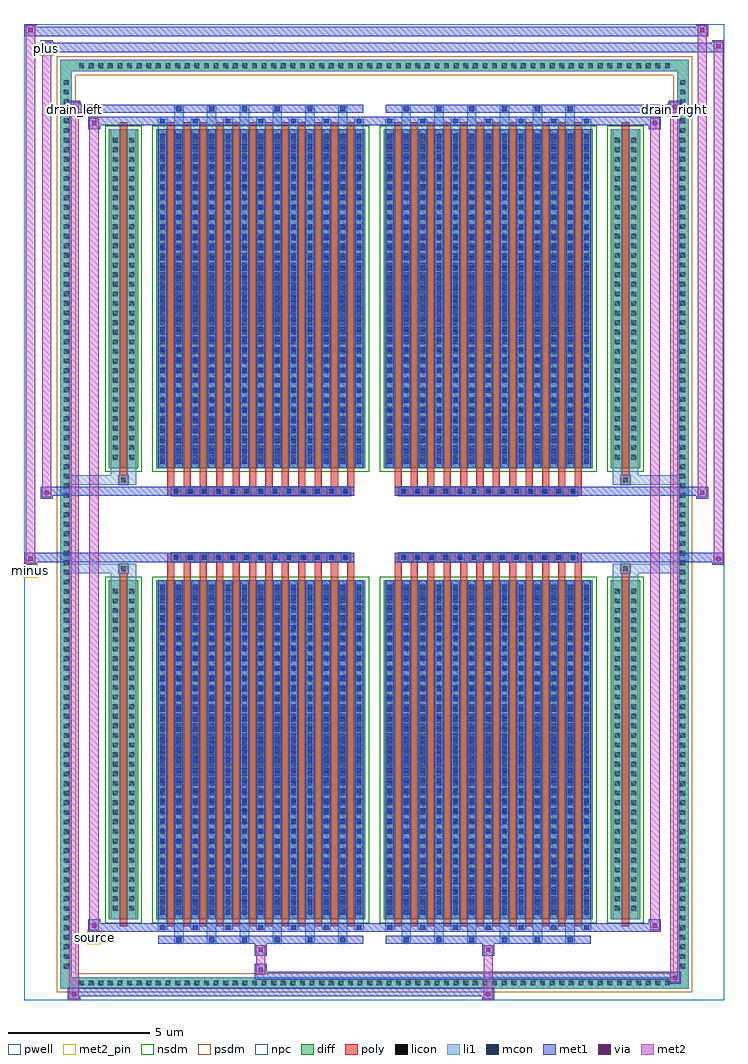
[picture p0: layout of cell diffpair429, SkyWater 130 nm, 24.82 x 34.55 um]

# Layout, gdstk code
import gdstk
lib = gdstk.Library(unit=1e-6, precision=5e-09)
def R(c, l, rs):  # rectangles x0, y0, x1, y1
    for r in rs: c.add(gdstk.rectangle(r[:2], r[2:], *l))
def A(c, l, x, y, w, h, nx, ny, dx, dy):  # array of equal rectangles
    R(c, l, [(x+i*dx, y+j*dy, x+i*dx+w, y+j*dy+h) for i in range(nx) for j in range(ny)])
def P(c, l, *ps):  # polygons
    for p in ps: c.add(gdstk.Polygon(p, *l))
pwell = (64, 44)
diff = (65, 20)
poly = (66, 20)
licon = (66, 44)
li1 = (67, 20)
mcon = (67, 44)
met1 = (68, 20)
via = (68, 44)
met2_pin = (69, 16)
met2 = (69, 20)
nsdm = (93, 44)
psdm = (94, 20)
npc = (95, 20)

diffpair429 = lib.new_cell('diffpair429')
R(diffpair429, pwell, [(-12.39,-16.84,12.39,17.71), (-9.71,-15.03,-0.01,-0.805), (0.01,-15.03,9.71,-0.805), (-9.71,0.805,-0.01,15.03), (0.01,0.805,9.71,15.03)])
A(diffpair429, diff, -10.575, -16.44, 0.41, 0.41, 62, 2, 0.34, 32.47)
A(diffpair429, diff, -11.12, -15.845, 0.41, 0.41, 1, 93, 0, 0.34)
A(diffpair429, diff, 10.71, -15.845, 0.41, 0.41, 1, 93, 0, 0.34)
R(diffpair429, diff, [(-10.575,-16.44,10.575,-16.03), (-11.12,-15.845,-10.71,15.845), (10.71,-15.845,11.12,15.845), (-9.4,-13.985,-8.37,-1.985), (-7.73,-13.985,-0.32,-1.985), (0.32,-13.985,7.73,-1.985), (8.37,-13.985,9.4,-1.985), (-9.4,1.985,-8.37,13.985), (-7.73,1.985,-0.32,13.985), (0.32,1.985,7.73,13.985), (8.37,1.985,9.4,13.985), (-10.575,16.03,10.575,16.44)])
P(diffpair429, diff, [(11.12,16.44),(-11.12,16.44),(-11.12,-16.03),(-10.71,-16.03),(-10.71,16.03),(10.71,16.03),(10.71,-16.03),(-10.71,-16.03),(-11.12,-16.03),(-11.12,-16.44),(11.12,-16.44)])
A(diffpair429, poly, -7.34, -14.235, 0.25, 12.5, 12, 2, 0.58, 15.97)
A(diffpair429, poly, 0.71, -14.235, 0.25, 12.5, 12, 2, 0.58, 15.97)
A(diffpair429, poly, -7.34, -1.735, 0.25, 0.4, 12, 2, 0.58, 3.07)
A(diffpair429, poly, 0.71, -1.735, 0.25, 0.4, 12, 2, 0.58, 3.07)
A(diffpair429, poly, -7.19, -1.335, 0.33, 0.33, 13, 2, 0.5, 2.34)
A(diffpair429, poly, 0.86, -1.335, 0.33, 0.33, 13, 2, 0.5, 2.34)
R(diffpair429, poly, [(-9.01,-14.235,-8.76,-1.735), (8.76,-14.235,9.01,-1.735), (-9.05,-1.735,-8.72,-1.405), (-9.05,-1.735,-8.72,-1.405), (8.72,-1.735,9.05,-1.405), (8.72,-1.735,9.05,-1.405), (-7.34,-1.335,-0.71,-1.005), (0.71,-1.335,7.34,-1.005), (-7.34,1.005,-0.71,1.335), (0.71,1.005,7.34,1.335), (-9.05,1.405,-8.72,1.735), (-9.05,1.405,-8.72,1.735), (8.72,1.405,9.05,1.735), (8.72,1.405,9.05,1.735), (-9.01,1.735,-8.76,14.235), (8.76,1.735,9.01,14.235)])
A(diffpair429, licon, -10.455, -16.32, 0.17, 0.17, 62, 2, 0.34, 32.47)
A(diffpair429, licon, -11, -15.725, 0.17, 0.17, 1, 93, 0, 0.34)
A(diffpair429, licon, 10.83, -15.725, 0.17, 0.17, 1, 93, 0, 0.34)
A(diffpair429, licon, -9.26, -13.68, 0.17, 0.17, 1, 34, 0, 0.34)
A(diffpair429, licon, -8.68, -13.68, 0.17, 0.17, 1, 34, 0, 0.34)
A(diffpair429, licon, -7.59, -13.68, 0.17, 0.17, 13, 34, 0.58, 0.34)
A(diffpair429, licon, 0.46, -13.68, 0.17, 0.17, 13, 34, 0.58, 0.34)
A(diffpair429, licon, 8.51, -13.68, 0.17, 0.17, 1, 34, 0, 0.34)
A(diffpair429, licon, 9.09, -13.68, 0.17, 0.17, 1, 34, 0, 0.34)
A(diffpair429, licon, -7.11, -1.255, 0.17, 0.17, 13, 2, 0.5, 2.34)
A(diffpair429, licon, 0.94, -1.255, 0.17, 0.17, 13, 2, 0.5, 2.34)
A(diffpair429, licon, -9.26, 2.29, 0.17, 0.17, 1, 34, 0, 0.34)
A(diffpair429, licon, -8.68, 2.29, 0.17, 0.17, 1, 34, 0, 0.34)
A(diffpair429, licon, -7.59, 2.29, 0.17, 0.17, 13, 34, 0.58, 0.34)
A(diffpair429, licon, 0.46, 2.29, 0.17, 0.17, 13, 34, 0.58, 0.34)
A(diffpair429, licon, 8.51, 2.29, 0.17, 0.17, 1, 34, 0, 0.34)
A(diffpair429, licon, 9.09, 2.29, 0.17, 0.17, 1, 34, 0, 0.34)
R(diffpair429, licon, [(-8.97,-1.655,-8.8,-1.485), (8.8,-1.655,8.97,-1.485), (-8.97,1.485,-8.8,1.655), (8.8,1.485,8.97,1.655)])
A(diffpair429, li1, -10.535, -16.4, 0.33, 0.33, 62, 2, 0.34, 32.47)
A(diffpair429, li1, -11.08, -15.805, 0.33, 0.33, 1, 93, 0, 0.34)
A(diffpair429, li1, 10.75, -15.805, 0.33, 0.33, 1, 93, 0, 0.34)
A(diffpair429, li1, -7.09, -14.79, 0.33, 0.805, 6, 2, 1.16, 28.775)
A(diffpair429, li1, -7.01, -14.79, 0.17, 0.17, 6, 2, 1.16, 29.41)
A(diffpair429, li1, 0.96, -14.79, 0.33, 0.805, 6, 2, 1.16, 28.775)
A(diffpair429, li1, 1.04, -14.79, 0.17, 0.17, 6, 2, 1.16, 29.41)
A(diffpair429, li1, -7.67, -14.36, 0.33, 0.375, 7, 2, 1.16, 28.345)
A(diffpair429, li1, -7.59, -14.36, 0.17, 0.17, 7, 2, 1.16, 28.55)
A(diffpair429, li1, 0.38, -14.36, 0.33, 0.375, 7, 2, 1.16, 28.345)
A(diffpair429, li1, 0.46, -14.36, 0.17, 0.17, 7, 2, 1.16, 28.55)
A(diffpair429, li1, -7.67, -13.985, 0.33, 12, 13, 2, 0.58, 15.97)
A(diffpair429, li1, 0.38, -13.985, 0.33, 12, 13, 2, 0.58, 15.97)
A(diffpair429, li1, -7.59, -13.83, 0.17, 0.17, 13, 33, 0.58, 0.36)
A(diffpair429, li1, -7.59, -13.83, 0.17, 11.69, 13, 2, 0.58, 15.97)
A(diffpair429, li1, 0.46, -13.83, 0.17, 0.17, 13, 33, 0.58, 0.36)
A(diffpair429, li1, 0.46, -13.83, 0.17, 11.69, 13, 2, 0.58, 15.97)
A(diffpair429, li1, -9.34, -13.76, 0.33, 0.33, 1, 34, 0, 0.34)
A(diffpair429, li1, -8.76, -13.76, 0.33, 0.33, 1, 34, 0, 0.34)
A(diffpair429, li1, -7.67, -13.76, 0.33, 0.33, 13, 34, 0.58, 0.34)
A(diffpair429, li1, 0.38, -13.76, 0.33, 0.33, 13, 34, 0.58, 0.34)
A(diffpair429, li1, 8.43, -13.76, 0.33, 0.33, 1, 34, 0, 0.34)
A(diffpair429, li1, 9.01, -13.76, 0.33, 0.33, 1, 34, 0, 0.34)
A(diffpair429, li1, -7.19, -1.335, 0.33, 0.33, 13, 2, 0.5, 2.34)
A(diffpair429, li1, 0.86, -1.335, 0.33, 0.33, 13, 2, 0.5, 2.34)
A(diffpair429, li1, -7.59, 2.14, 0.17, 0.17, 13, 33, 0.58, 0.36)
A(diffpair429, li1, 0.46, 2.14, 0.17, 0.17, 13, 33, 0.58, 0.36)
A(diffpair429, li1, -9.34, 2.21, 0.33, 0.33, 1, 34, 0, 0.34)
A(diffpair429, li1, -8.76, 2.21, 0.33, 0.33, 1, 34, 0, 0.34)
A(diffpair429, li1, -7.67, 2.21, 0.33, 0.33, 13, 34, 0.58, 0.34)
A(diffpair429, li1, 0.38, 2.21, 0.33, 0.33, 13, 34, 0.58, 0.34)
A(diffpair429, li1, 8.43, 2.21, 0.33, 0.33, 1, 34, 0, 0.34)
A(diffpair429, li1, 9.01, 2.21, 0.33, 0.33, 1, 34, 0, 0.34)
R(diffpair429, li1, [(-11.12,-16.44,-10.71,-16.03), (-11.12,-16.44,-10.71,-16.03), (-10.71,-16.44,10.71,-16.03), (10.71,-16.44,11.12,-16.03), (10.71,-16.44,11.12,-16.03), (-11.12,-16.03,-10.71,16.03), (10.71,-16.03,11.12,16.03), (-9.34,-13.985,-9.01,-1.985), (-8.76,-13.985,-8.43,-1.985), (8.43,-13.985,8.76,-1.985), (9.01,-13.985,9.34,-1.985), (-9.34,-1.985,-9.01,-1.405), (-8.76,-1.985,-8.43,-1.405), (8.43,-1.985,8.76,-1.405), (9.01,-1.985,9.34,-1.405), (-11.12,-1.735,-9.05,-1.405), (-9.34,-1.735,-9.05,-1.405), (-9.05,-1.735,-8.72,-1.405), (-8.72,-1.735,-8.43,-1.405), (8.43,-1.735,8.72,-1.405), (8.72,-1.735,9.05,-1.405), (8.72,-1.735,11.12,-1.405), (9.05,-1.735,9.34,-1.405), (-11.12,1.405,-9.05,1.735), (-9.34,1.405,-9.05,1.735), (-9.34,1.405,-9.01,1.985), (-9.05,1.405,-8.72,1.735), (-8.76,1.405,-8.43,1.985), (-8.72,1.405,-8.43,1.735), (8.43,1.405,8.72,1.735), (8.43,1.405,8.76,1.985), (8.72,1.405,9.05,1.735), (8.72,1.405,11.12,1.735), (9.01,1.405,9.34,1.985), (9.05,1.405,9.34,1.735), (-9.34,1.985,-9.01,13.985), (-8.76,1.985,-8.43,13.985), (8.43,1.985,8.76,13.985), (9.01,1.985,9.34,13.985), (-11.12,16.03,-10.71,16.44), (-11.12,16.03,-10.71,16.44), (-10.71,16.03,10.71,16.44), (10.71,16.03,11.12,16.44), (10.71,16.03,11.12,16.44)])
A(diffpair429, mcon, -7.01, -14.79, 0.17, 0.17, 6, 2, 1.16, 29.41)
A(diffpair429, mcon, 1.04, -14.79, 0.17, 0.17, 6, 2, 1.16, 29.41)
A(diffpair429, mcon, -7.59, -14.36, 0.17, 0.17, 7, 2, 1.16, 28.55)
A(diffpair429, mcon, 0.46, -14.36, 0.17, 0.17, 7, 2, 1.16, 28.55)
A(diffpair429, mcon, -7.59, -13.83, 0.17, 0.17, 13, 33, 0.58, 0.36)
A(diffpair429, mcon, 0.46, -13.83, 0.17, 0.17, 13, 33, 0.58, 0.36)
A(diffpair429, mcon, -7.11, -1.255, 0.17, 0.17, 13, 2, 0.5, 2.34)
A(diffpair429, mcon, 0.94, -1.255, 0.17, 0.17, 13, 2, 0.5, 2.34)
A(diffpair429, mcon, -7.59, 2.14, 0.17, 0.17, 13, 33, 0.58, 0.36)
A(diffpair429, mcon, 0.46, 2.14, 0.17, 0.17, 13, 33, 0.58, 0.36)
A(diffpair429, met1, -7.07, -14.85, 0.29, 0.29, 6, 2, 1.16, 29.41)
A(diffpair429, met1, 0.98, -14.85, 0.29, 0.29, 6, 2, 1.16, 29.41)
A(diffpair429, met1, -7.65, -14.42, 0.29, 0.29, 7, 2, 1.16, 28.55)
A(diffpair429, met1, 0.4, -14.42, 0.29, 0.29, 7, 2, 1.16, 28.55)
A(diffpair429, met1, -7.65, -13.985, 0.29, 12, 13, 2, 0.58, 15.97)
A(diffpair429, met1, 0.4, -13.985, 0.29, 12, 13, 2, 0.58, 15.97)
A(diffpair429, met1, -7.65, -13.89, 0.29, 0.29, 13, 33, 0.58, 0.36)
A(diffpair429, met1, 0.4, -13.89, 0.29, 0.29, 13, 33, 0.58, 0.36)
A(diffpair429, met1, -7.17, -1.315, 0.29, 0.29, 13, 2, 0.5, 2.34)
A(diffpair429, met1, 0.88, -1.315, 0.29, 0.29, 13, 2, 0.5, 2.34)
A(diffpair429, met1, -7.65, 2.08, 0.29, 0.29, 13, 33, 0.58, 0.36)
A(diffpair429, met1, 0.4, 2.08, 0.29, 0.29, 13, 33, 0.58, 0.36)
R(diffpair429, met1, [(-10.85,-16.84,-10.42,-16.41), (3.81,-16.84,4.24,-16.41), (-10.85,-16.7,4.24,-16.41), (10.42,-16.27,10.85,-15.84), (-4.24,-16.13,10.85,-15.84), (-4.24,-15.99,-3.81,-15.56), (-4.24,-15.28,-3.81,-14.85), (3.81,-15.28,4.24,-14.85), (-7.65,-14.85,-0.4,-14.56), (0.4,-14.85,7.65,-14.56), (-10.14,-14.42,-9.71,-13.99), (-10.14,-14.42,-7.65,-14.13), (-7.65,-14.42,-0.4,-14.13), (-0.4,-14.42,0.4,-14.13), (0.4,-14.42,7.65,-14.13), (7.65,-14.42,10.14,-14.13), (9.71,-14.42,10.14,-13.99), (-12.39,-1.435,-11.96,-1.005), (11.96,-1.435,12.39,-1.005), (-12.39,-1.335,-0.71,-1.005), (-7.34,-1.335,-0.71,-1.005), (0.71,-1.335,7.34,-1.005), (0.71,-1.335,12.39,-1.005), (-11.82,0.905,-11.39,1.335), (11.39,0.905,11.82,1.335), (-11.82,1.005,-7.34,1.335), (-7.34,1.005,-0.71,1.335), (0.71,1.005,7.34,1.335), (7.34,1.005,11.82,1.335), (-10.14,13.99,-9.71,14.42), (9.71,13.99,10.14,14.42), (-10.14,14.13,-7.65,14.42), (-7.65,14.13,-0.4,14.42), (-0.4,14.13,0.4,14.42), (0.4,14.13,7.65,14.42), (7.65,14.13,10.14,14.42), (-10.85,14.56,-10.42,14.99), (-10.85,14.56,-7.65,14.85), (-7.65,14.56,-0.4,14.85), (0.4,14.56,7.65,14.85), (7.65,14.56,10.85,14.85), (10.42,14.56,10.85,14.99), (-11.82,16.71,-11.39,17.14), (-11.82,16.71,-9.71,17.04), (-9.71,16.71,9.71,17.04), (9.71,16.71,12.39,17.04), (11.96,16.71,12.39,17.14), (-12.39,17.28,-11.96,17.71), (-12.39,17.28,-9.71,17.61), (-9.71,17.28,9.71,17.61), (9.71,17.28,11.82,17.61), (11.39,17.28,11.82,17.71)])
R(diffpair429, via, [(-10.71,-16.7,-10.56,-16.55), (3.95,-16.7,4.1,-16.55), (10.56,-16.13,10.71,-15.98), (-4.1,-15.85,-3.95,-15.7), (-4.1,-15.14,-3.95,-14.99), (3.95,-15.14,4.1,-14.99), (-10,-14.28,-9.85,-14.13), (9.85,-14.28,10,-14.13), (-12.25,-1.295,-12.1,-1.145), (12.1,-1.295,12.25,-1.145), (-11.68,1.045,-11.53,1.195), (11.53,1.045,11.68,1.195), (-10,14.13,-9.85,14.28), (9.85,14.13,10,14.28), (-10.71,14.7,-10.56,14.85), (10.56,14.7,10.71,14.85), (-11.68,16.85,-11.53,17), (12.1,16.85,12.25,17), (-12.25,17.42,-12.1,17.57), (11.53,17.42,11.68,17.57)])
R(diffpair429, met2_pin, [(-10.175,-14.87,-9.675,-14.37), (-12.425,-1.885,-11.925,-1.385), (-10.885,14.44,-10.385,14.94), (10.385,14.44,10.885,14.94), (-11.855,16.59,-11.355,17.09)])
R(diffpair429, met2, [(-10.8,-16.79,-10.47,-16.46), (-10.8,-16.79,-10.47,14.94), (3.86,-16.79,4.19,-16.46), (3.86,-16.46,4.19,-15.23), (10.47,-16.22,10.8,-15.89), (10.47,-16.22,10.8,14.94), (-4.19,-15.94,-3.86,-15.61), (-4.19,-15.61,-3.86,-15.23), (-4.19,-15.23,-3.86,-14.9), (3.86,-15.23,4.19,-14.9), (-10.09,-14.37,-9.76,-14.04), (-10.09,-14.37,-9.76,14.37), (9.76,-14.37,10.09,-14.04), (9.76,-14.37,10.09,14.37), (-12.34,-1.385,-12.01,-1.055), (-12.34,-1.385,-12.01,17.66), (12.01,-1.385,12.34,-1.055), (12.01,-1.385,12.34,17.09), (-11.77,0.955,-11.44,1.285), (-11.77,0.955,-11.44,17.09), (11.44,0.955,11.77,1.285), (11.44,0.955,11.77,17.66), (-10.09,14.04,-9.76,14.37), (9.76,14.04,10.09,14.37), (-10.8,14.61,-10.47,14.94), (10.47,14.61,10.8,14.94), (-11.77,16.76,-11.44,17.09), (12.01,16.76,12.34,17.09), (-12.34,17.33,-12.01,17.66), (11.44,17.33,11.77,17.66)])
P(diffpair429, met2, [(12.34,-1.385),(12.34,-1.385),(12.34,-1.055),(12.34,-1.055)],
  [(12.34,16.76),(12.34,16.76),(12.34,17.09),(12.34,17.09)],
  [(-12.01,-1.385),(-12.01,-1.385),(-12.01,-1.055),(-12.01,-1.055)],
  [(-12.01,17.33),(-12.01,17.33),(-12.01,17.66),(-12.01,17.66)],
  [(11.77,0.955),(11.77,0.955),(11.77,1.285),(11.77,1.285)],
  [(11.77,17.33),(11.77,17.33),(11.77,17.66),(11.77,17.66)],
  [(-11.44,0.955),(-11.44,0.955),(-11.44,1.285),(-11.44,1.285)],
  [(-11.44,16.76),(-11.44,16.76),(-11.44,17.09),(-11.44,17.09)],
  [(-10.47,-16.79),(-10.47,-16.79),(-10.47,-16.46),(-10.47,-16.46)],
  [(-10.47,14.61),(-10.47,14.61),(-10.47,14.94),(-10.47,14.94)],
  [(10.8,-16.22),(10.8,-16.22),(10.8,-15.89),(10.8,-15.89)],
  [(10.8,14.61),(10.8,14.61),(10.8,14.94),(10.8,14.94)],
  [(-9.76,-14.37),(-9.76,-14.37),(-9.76,-14.04),(-9.76,-14.04)],
  [(-9.76,14.04),(-9.76,14.04),(-9.76,14.37),(-9.76,14.37)],
  [(10.09,-14.37),(10.09,-14.37),(10.09,-14.04),(10.09,-14.04)],
  [(10.09,14.04),(10.09,14.04),(10.09,14.37),(10.09,14.37)])
R(diffpair429, nsdm, [(-9.53,-14.115,-8.24,-1.855), (-7.86,-14.115,-0.19,-1.855), (0.19,-14.115,7.86,-1.855), (8.24,-14.115,9.53,-1.855), (-9.53,1.855,-8.24,14.115), (-7.86,1.855,-0.19,14.115), (0.19,1.855,7.86,14.115), (8.24,1.855,9.53,14.115)])
P(diffpair429, psdm, [(11.25,16.57),(-11.25,16.57),(-11.25,-15.9),(-10.58,-15.9),(-10.58,15.9),(10.58,15.9),(10.58,-15.9),(-10.58,-15.9),(-11.25,-15.9),(-11.25,-16.57),(11.25,-16.57)])
A(diffpair429, npc, -7.21, -1.355, 0.37, 0.37, 13, 2, 0.5, 2.34)
A(diffpair429, npc, 0.84, -1.355, 0.37, 0.37, 13, 2, 0.5, 2.34)
R(diffpair429, npc, [(-9.07,-1.755,-8.7,-1.385), (8.7,-1.755,9.07,-1.385), (-7.21,-1.355,-6.34,-0.985), (-7.21,-1.355,-6.34,-0.985), (-6.71,-1.355,-5.84,-0.985), (-6.71,-1.355,-5.84,-0.985), (-6.21,-1.355,-5.34,-0.985), (-6.21,-1.355,-5.34,-0.985), (-5.71,-1.355,-4.84,-0.985), (-5.71,-1.355,-4.84,-0.985), (-5.21,-1.355,-4.34,-0.985), (-5.21,-1.355,-4.34,-0.985), (-4.71,-1.355,-3.84,-0.985), (-4.71,-1.355,-3.84,-0.985), (-4.21,-1.355,-3.34,-0.985), (-4.21,-1.355,-3.34,-0.985), (-3.71,-1.355,-2.84,-0.985), (-3.71,-1.355,-2.84,-0.985), (-3.21,-1.355,-2.34,-0.985), (-3.21,-1.355,-2.34,-0.985), (-2.71,-1.355,-1.84,-0.985), (-2.71,-1.355,-1.84,-0.985), (-2.21,-1.355,-1.34,-0.985), (-2.21,-1.355,-1.34,-0.985), (-1.71,-1.355,-0.84,-0.985), (-1.71,-1.355,-0.84,-0.985), (0.84,-1.355,1.71,-0.985), (0.84,-1.355,1.71,-0.985), (1.34,-1.355,2.21,-0.985), (1.34,-1.355,2.21,-0.985), (1.84,-1.355,2.71,-0.985), (1.84,-1.355,2.71,-0.985), (2.34,-1.355,3.21,-0.985), (2.34,-1.355,3.21,-0.985), (2.84,-1.355,3.71,-0.985), (2.84,-1.355,3.71,-0.985), (3.34,-1.355,4.21,-0.985), (3.34,-1.355,4.21,-0.985), (3.84,-1.355,4.71,-0.985), (3.84,-1.355,4.71,-0.985), (4.34,-1.355,5.21,-0.985), (4.34,-1.355,5.21,-0.985), (4.84,-1.355,5.71,-0.985), (4.84,-1.355,5.71,-0.985), (5.34,-1.355,6.21,-0.985), (5.34,-1.355,6.21,-0.985), (5.84,-1.355,6.71,-0.985), (5.84,-1.355,6.71,-0.985), (6.34,-1.355,7.21,-0.985), (6.34,-1.355,7.21,-0.985), (-7.21,0.985,-6.34,1.355), (-7.21,0.985,-6.34,1.355), (-6.71,0.985,-5.84,1.355), (-6.71,0.985,-5.84,1.355), (-6.21,0.985,-5.34,1.355), (-6.21,0.985,-5.34,1.355), (-5.71,0.985,-4.84,1.355), (-5.71,0.985,-4.84,1.355), (-5.21,0.985,-4.34,1.355), (-5.21,0.985,-4.34,1.355), (-4.71,0.985,-3.84,1.355), (-4.71,0.985,-3.84,1.355), (-4.21,0.985,-3.34,1.355), (-4.21,0.985,-3.34,1.355), (-3.71,0.985,-2.84,1.355), (-3.71,0.985,-2.84,1.355), (-3.21,0.985,-2.34,1.355), (-3.21,0.985,-2.34,1.355), (-2.71,0.985,-1.84,1.355), (-2.71,0.985,-1.84,1.355), (-2.21,0.985,-1.34,1.355), (-2.21,0.985,-1.34,1.355), (-1.71,0.985,-0.84,1.355), (-1.71,0.985,-0.84,1.355), (0.84,0.985,1.71,1.355), (0.84,0.985,1.71,1.355), (1.34,0.985,2.21,1.355), (1.34,0.985,2.21,1.355), (1.84,0.985,2.71,1.355), (1.84,0.985,2.71,1.355), (2.34,0.985,3.21,1.355), (2.34,0.985,3.21,1.355), (2.84,0.985,3.71,1.355), (2.84,0.985,3.71,1.355), (3.34,0.985,4.21,1.355), (3.34,0.985,4.21,1.355), (3.84,0.985,4.71,1.355), (3.84,0.985,4.71,1.355), (4.34,0.985,5.21,1.355), (4.34,0.985,5.21,1.355), (4.84,0.985,5.71,1.355), (4.84,0.985,5.71,1.355), (5.34,0.985,6.21,1.355), (5.34,0.985,6.21,1.355), (5.84,0.985,6.71,1.355), (5.84,0.985,6.71,1.355), (6.34,0.985,7.21,1.355), (6.34,0.985,7.21,1.355), (-9.07,1.385,-8.7,1.755), (8.7,1.385,9.07,1.755)])
diffpair429.add(gdstk.Label('minus', (-12.175,-1.635), layer=69, texttype=5))
diffpair429.add(gdstk.Label('drain_right', (10.635,14.69), layer=69, texttype=5))
diffpair429.add(gdstk.Label('drain_left', (-10.635,14.69), layer=69, texttype=5))
diffpair429.add(gdstk.Label('source', (-9.925,-14.62), layer=69, texttype=5))
diffpair429.add(gdstk.Label('plus', (-11.605,16.84), layer=69, texttype=5))

lib.write_gds('diffpair429.gds')
